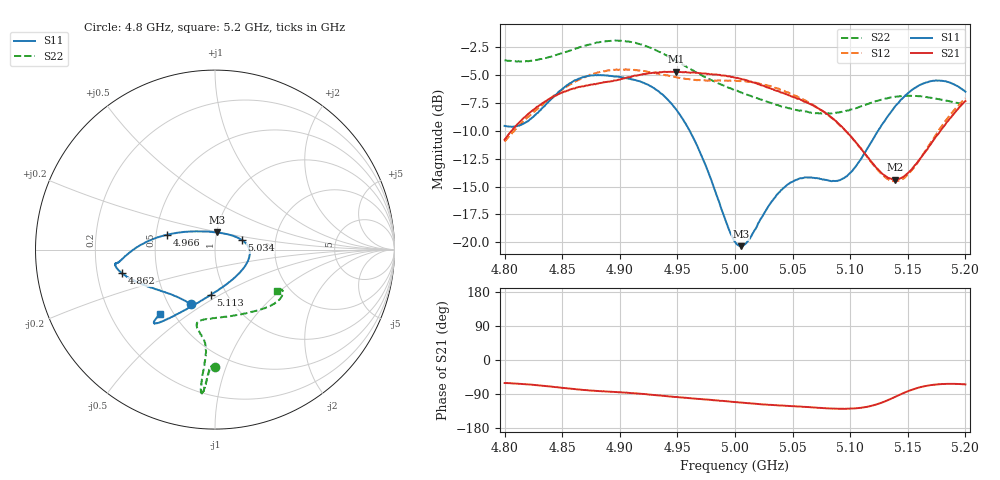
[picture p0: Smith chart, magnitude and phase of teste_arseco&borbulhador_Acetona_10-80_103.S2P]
! Network Analyzer HP8722D
! Hewlett-Packard
! Data name: Linha & Wilkinson
! Saver's name: Rodrigo Anjos
! Comments: Teste da utilização de aquisição
! continua pelo VNA HP8722D
! Time and date: 17/4/2025 15:13
!  Frequency  S11  S21  S12  S22
# HZ  S  MA R 50
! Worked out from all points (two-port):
!   401 points, 4.8 GHz to 5.2 GHz, reference 50 ohm
!   highest |S21| = -4.68 dB at 4.949 GHz (marker M1); lowest = -14.4 dB at 5.139 GHz (marker M2)
!   |S21| within 3 dB of the highest: 4.831 GHz to 5.067 GHz (236.6 MHz wide, 4.78 % of centre); 5.196565 GHz to end of sweep
!   lowest |S11| = -20.3 dB at 5.005 GHz (marker M3), VSWR 1.21, Z = 50.2 + j9.67 ohm
!   |S11| at or under -10 dB: 4.961 GHz to 5.124 GHz (163.4 MHz wide, 3.24 % of centre)
!   |S22| runs from -8.5 to -1.9 dB; largest |S21 - S12| = 0.87
!   S11 on the Smith chart (normalised r, x): 4.8 GHz: 0.65, -0.44; 4.862 GHz: 0.31, -0.11; 4.966 GHz: 0.57, +0.10; 5.034 GHz: 1.34, +0.15; 5.113 GHz: 0.84, -0.45; 5.2 GHz: 0.42, -0.39
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4.8e9  0.333 -113.4  0.2887 -60.8  0.2832 -175.0  0.6556 -90.1
4.819e9  0.3471 -133.4  0.3707 -63.9  0.3592 -173.5  0.6512 -91.7
4.862e9  0.5351 -165.8  0.4939 -77.1  0.5284 -176.8  0.7424 -93.8
4.867e9  0.5487 -167.8  0.5009 -78.5  0.5439 -177.8  0.7562 -94.0
4.9e9  0.5526 -172.3  0.5369 -85.1  0.5965 175.6  0.8034 -95.3
4.934e9  0.4747 -178.2  0.5781 -93.5  0.5714 171.9  0.7162 -95.8
4.949e9  0.3941 174.6  0.5833 -97.4  0.5506 172.2  0.6531 -95.4
4.966e9  0.2789 162.7  0.5758 -102.0  0.5353 173.7  0.5804 -95.0
5e9  0.1005 101.1  0.5486 -111.1  0.5314 176.2  0.4819 -99.1
5.005e9  0.09607 83.5  0.5416 -112.4  0.5295 176.1  0.4706 -100.4
5.012e9  0.1024 60.5  0.5269 -114.3  0.5247 175.9  0.4569 -101.8
5.034e9  0.1576 20.4  0.4826 -119.3  0.4971 174.9  0.4167 -103.5
5.05e9  0.187 4.1  0.4497 -121.9  0.4608 174.2  0.3966 -99.5
5.067e9  0.1951 -14.1  0.4135 -124.9  0.4163 173.7  0.382 -90.5
5.093e9  0.1923 -58.2  0.3296 -128.6  0.3278 174.2  0.3852 -70.6
5.113e9  0.2541 -95.5  0.2486 -124.4  0.2492 -180.0  0.4142 -55.0
5.134e9  0.3765 -116.5  0.1937 -104.3  0.1902 -157.3  0.4458 -43.0
5.139e9  0.4072 -119.6  0.191 -97.4  0.188 -149.2  0.45 -40.8
5.151e9  0.4708 -124.5  0.2068 -81.2  0.2042 -130.9  0.4544 -36.4
5.17e9  0.5286 -128.9  0.2756 -66.2  0.2808 -112.5  0.4456 -31.9
5.184e9  0.5255 -130.2  0.3468 -63.0  0.3575 -107.2  0.432 -31.0
5.2e9  0.4743 -130.6  0.4302 -64.4  0.4427 -106.5  0.4154 -33.3
